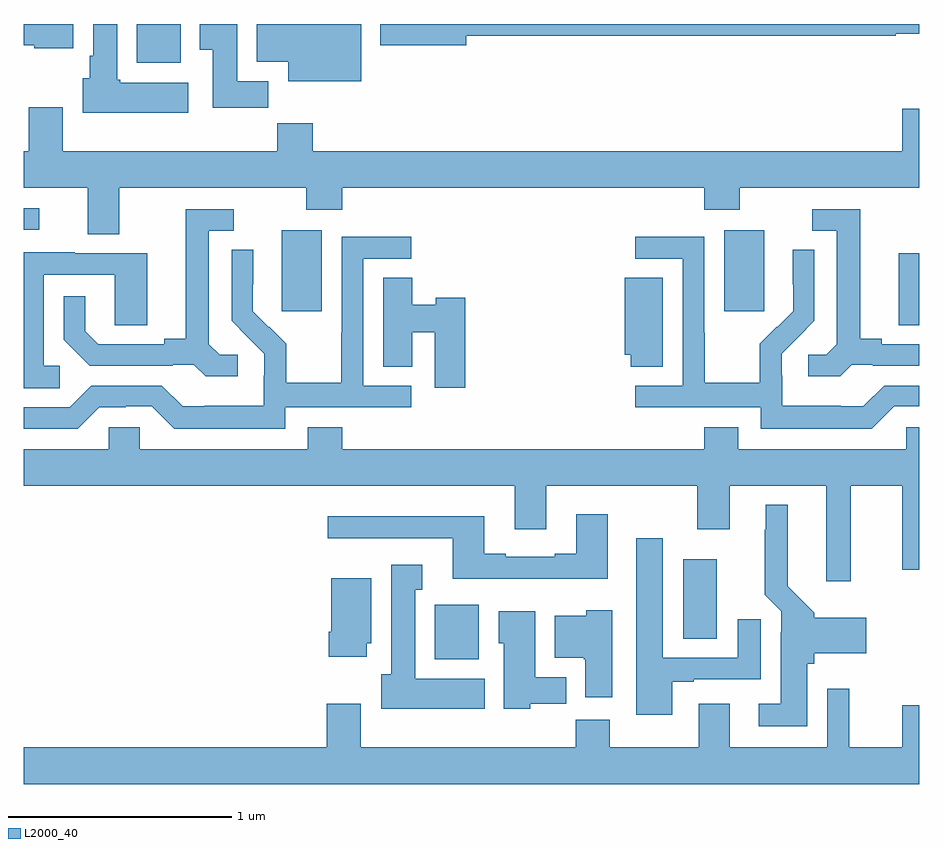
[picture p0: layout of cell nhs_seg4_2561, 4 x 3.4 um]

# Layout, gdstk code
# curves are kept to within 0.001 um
import gdstk
lib = gdstk.Library(unit=1e-6, precision=1e-09)
def R(c, l, rs):  # rectangles x0, y0, x1, y1
    for r in rs: c.add(gdstk.rectangle(r[:2], r[2:], *l))
def P(c, l, *ps):  # polygons
    for p in ps: c.add(gdstk.Polygon(p, *l))
L2000_40 = (2000, 40)

nhs_seg4_2561 = lib.new_cell('nhs_seg4_2561')
R(nhs_seg4_2561, L2000_40, [(246.836,780.062,247.033,780.304), (247.946,780.154,248.095,780.508), (248.909,781.555,249,781.875), (246.152,781.617,246.331,781.978), (248.129,781.617,248.308,781.978), (245,781.98,245.068,782.076), (245.504,782.726,245.701,782.9)])
P(nhs_seg4_2561, L2000_40, [(246.092,782.644),(245.953,782.644),(245.953,782.9),(245.786,782.9),(245.786,782.785),(245.843,782.785),(245.843,782.526),(246.092,782.526)],
  [(245.734,782.638),(245.43,782.638),(245.43,782.652),(245.416,782.652),(245.416,782.9),(245.309,782.9),(245.309,782.758),(245.294,782.758),(245.294,782.658),(245.264,782.658),(245.264,782.504),(245.734,782.504)],
  [(246.508,782.9),(246.041,782.9),(246.041,782.732),(246.182,782.732),(246.182,782.645),(246.508,782.645)],
  [(245.221,782.9),(245,782.9),(245,782.806),(245.046,782.806),(245.046,782.792),(245.221,782.792)],
  [(246.976,782.848),(248.896,782.848),(248.896,782.856),(249,782.856),(249,782.9),(246.593,782.9),(246.593,782.806),(246.976,782.806)],
  [(245.425,782.168),(246.262,782.168),(246.262,782.069),(246.422,782.069),(246.422,782.168),(248.039,782.168),(248.039,782.069),(248.199,782.069),(248.199,782.168),(249,782.168),(249,782.521),(248.924,782.521),(248.924,782.332),(246.29,782.332),(246.29,782.456),(246.133,782.456),(246.133,782.332),(245.173,782.332),(245.173,782.527),(245.021,782.527),(245.021,782.332),(245,782.332),(245,782.168),(245.285,782.168),(245.285,781.96),(245.425,781.96)],
  [(245.956,781.422),(245.874,781.422),(245.827,781.469),(245.827,781.977),(245.938,781.977),(245.938,782.073),(245.723,782.073),(245.723,781.493),(245.627,781.493),(245.627,781.47),(245.332,781.47),(245.275,781.527),(245.275,781.684),(245.178,781.684),(245.178,781.49),(245.294,781.374),(245.666,781.374),(245.666,781.377),(245.76,781.377),(245.812,781.325),(245.956,781.325)],
  [(248.7,781.377),(248.794,781.377),(248.794,781.374),(249,781.374),(249,781.47),(248.833,781.47),(248.833,781.493),(248.737,781.493),(248.737,782.073),(248.523,782.073),(248.523,781.977),(248.633,781.977),(248.633,781.469),(248.586,781.422),(248.505,781.422),(248.505,781.325),(248.648,781.325)],
  [(248.889,781.191),(249,781.191),(249,781.284),(248.844,781.284),(248.751,781.191),(248.651,781.191),(248.651,781.195),(248.388,781.195),(248.388,781.329),(248.386,781.329),(248.386,781.426),(248.532,781.574),(248.532,781.892),(248.436,781.892),(248.436,781.738),(248.438,781.738),(248.438,781.616),(248.367,781.545),(248.364,781.548),(248.287,781.471),(248.287,781.297),(248.043,781.297),(248.043,781.52),(248.04,781.52),(248.04,781.95),(247.731,781.95),(247.731,781.851),(247.944,781.851),(247.944,781.284),(247.731,781.284),(247.731,781.188),(248.292,781.188),(248.292,781.091),(248.789,781.091)],
  [(246.168,781.188),(246.73,781.188),(246.73,781.284),(246.516,781.284),(246.516,781.851),(246.73,781.851),(246.73,781.95),(246.42,781.95),(246.42,781.52),(246.418,781.52),(246.418,781.297),(246.173,781.297),(246.173,781.471),(246.096,781.548),(246.093,781.545),(246.023,781.616),(246.024,781.892),(245.928,781.892),(245.928,781.574),(246.074,781.426),(246.074,781.329),(246.072,781.329),(246.072,781.195),(245.809,781.195),(245.809,781.191),(245.709,781.191),(245.616,781.284),(245.301,781.284),(245.205,781.188),(245,781.188),(245,781.092),(245.241,781.092),(245.337,781.188),(245.456,781.188),(245.456,781.191),(245.571,781.191),(245.671,781.091),(246.168,781.091)],
  [(245.161,781.374),(245.088,781.374),(245.088,781.779),(245.406,781.779),(245.406,781.555),(245.551,781.555),(245.551,781.875),(245.227,781.875),(245.227,781.879),(245,781.879),(245,781.273),(245.161,781.273)],
  [(246.971,781.676),(246.84,781.676),(246.84,781.645),(246.736,781.645),(246.736,781.766),(246.605,781.766),(246.605,781.369),(246.736,781.369),(246.736,781.523),(246.836,781.523),(246.836,781.275),(246.971,781.275)],
  [(247.855,781.766),(247.685,781.766),(247.685,781.422),(247.712,781.422),(247.712,781.369),(247.855,781.369)],
  [(248.695,780.836),(248.924,780.836),(248.924,780.462),(249,780.462),(249,781.098),(248.943,781.098),(248.943,781),(248.191,781),(248.191,781.099),(248.039,781.099),(248.039,781),(246.422,781),(246.422,781.099),(246.269,781.099),(246.269,781),(245.517,781),(245.517,781.098),(245.379,781.098),(245.379,781),(245,781),(245,780.836),(247.193,780.836),(247.193,780.642),(247.333,780.642),(247.333,780.836),(248.008,780.836),(248.008,780.642),(248.155,780.642),(248.155,780.836),(248.585,780.836),(248.585,780.411),(248.695,780.411)],
  [(248.5,780.042),(248.531,780.042),(248.531,780.089),(248.764,780.089),(248.764,780.247),(248.531,780.247),(248.531,780.27),(248.413,780.388),(248.413,780.751),(248.315,780.751),(248.315,780.641),(248.311,780.641),(248.311,780.35),(248.385,780.276),(248.385,780.182),(248.381,780.182),(248.381,779.863),(248.283,779.863),(248.283,779.762),(248.5,779.762)],
  [(247.609,780.709),(247.469,780.709),(247.469,780.532),(247.373,780.532),(247.373,780.519),(247.153,780.519),(247.153,780.532),(247.057,780.532),(247.057,780.7),(246.357,780.7),(246.357,780.603),(246.917,780.603),(246.917,780.422),(247.609,780.422)],
  [(247.897,779.961),(247.993,779.961),(247.993,779.973),(248.293,779.973),(248.293,780.241),(248.189,780.241),(248.189,780.069),(247.855,780.069),(247.855,780.601),(247.736,780.601),(247.736,779.814),(247.897,779.814)],
  [(247.06,779.974),(246.748,779.974),(246.748,780.371),(246.781,780.371),(246.781,780.484),(246.641,780.484),(246.641,779.994),(246.596,779.994),(246.596,779.84),(247.06,779.84)],
  [(246.532,780.132),(246.553,780.132),(246.553,780.424),(246.374,780.424),(246.374,780.184),(246.362,780.184),(246.362,780.072),(246.532,780.072)],
  [(247.63,780.28),(247.512,780.28),(247.512,780.256),(247.373,780.256),(247.373,780.068),(247.502,780.068),(247.502,780.062),(247.508,780.062),(247.508,779.892),(247.63,779.892)],
  [(247.263,779.862),(247.423,779.862),(247.423,779.98),(247.285,779.98),(247.285,780.277),(247.121,780.277),(247.121,780.132),(247.145,780.132),(247.145,779.84),(247.263,779.84)],
  [(249,779.857),(248.924,779.857),(248.924,779.668),(248.688,779.668),(248.688,779.929),(248.589,779.929),(248.589,779.668),(248.155,779.668),(248.155,779.863),(248.015,779.863),(248.015,779.668),(247.617,779.668),(247.617,779.792),(247.465,779.792),(247.465,779.668),(246.505,779.668),(246.505,779.863),(246.353,779.863),(246.353,779.668),(245,779.668),(245,779.504),(249,779.504)])

lib.write_gds('nhs_seg4_2561.gds')
